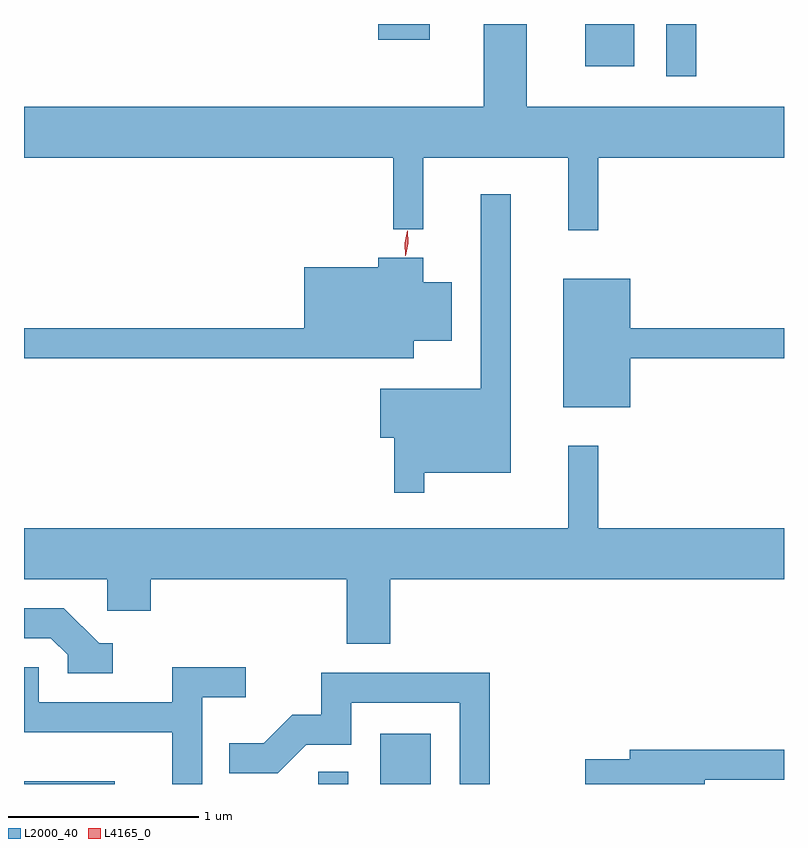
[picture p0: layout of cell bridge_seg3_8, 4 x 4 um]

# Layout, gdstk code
import gdstk
lib = gdstk.Library(unit=1e-6, precision=1e-09)
def R(c, l, rs):  # rectangles x0, y0, x1, y1
    for r in rs: c.add(gdstk.rectangle(r[:2], r[2:], *l))
def P(c, l, *ps):  # polygons
    for p in ps: c.add(gdstk.Polygon(p, *l))
L2000_40 = (2000, 40)
L4165_0 = (4165, 0)

bridge_seg3_8 = lib.new_cell('bridge_seg3_8')
R(bridge_seg3_8, L2000_40, [(1862.882,1118.279,1863.359,1118.294), (1864.431,1118.279,1864.589,1118.343), (1864.756,1118.279,1865.024,1118.544), (1866.261,1122.003,1866.419,1122.279), (1865.836,1122.056,1866.094,1122.279), (1864.746,1122.196,1865.018,1122.279)])
P(bridge_seg3_8, L2000_40, [(1865.904,1121.576),(1866.882,1121.576),(1866.882,1121.844),(1865.529,1121.844),(1865.529,1122.279),(1865.301,1122.279),(1865.301,1121.844),(1862.882,1121.844),(1862.882,1121.576),(1864.826,1121.576),(1864.826,1121.198),(1864.984,1121.198),(1864.984,1121.576),(1865.746,1121.576),(1865.746,1121.193),(1865.904,1121.193)],
  [(1864.989,1119.916),(1865.444,1119.916),(1865.444,1121.383),(1865.286,1121.383),(1865.286,1120.359),(1864.756,1120.359),(1864.756,1120.101),(1864.831,1120.101),(1864.831,1119.813),(1864.989,1119.813)],
  [(1864.934,1120.611),(1865.134,1120.611),(1865.134,1120.919),(1864.984,1120.919),(1864.984,1121.049),(1864.746,1121.049),(1864.746,1120.999),(1864.356,1120.999),(1864.356,1120.679),(1862.882,1120.679),(1862.882,1120.521),(1864.934,1120.521)],
  [(1866.074,1120.521),(1866.882,1120.521),(1866.882,1120.679),(1866.074,1120.679),(1866.074,1120.939),(1865.721,1120.939),(1865.721,1120.261),(1866.074,1120.261)],
  [(1864.809,1119.356),(1866.882,1119.356),(1866.882,1119.624),(1865.904,1119.624),(1865.904,1120.058),(1865.746,1120.058),(1865.746,1119.624),(1862.882,1119.624),(1862.882,1119.356),(1863.321,1119.356),(1863.321,1119.191),(1863.549,1119.191),(1863.549,1119.356),(1864.581,1119.356),(1864.581,1119.016),(1864.809,1119.016)],
  [(1863.348,1119.019),(1863.277,1119.019),(1863.092,1119.204),(1862.882,1119.204),(1862.882,1119.046),(1863.024,1119.046),(1863.111,1118.959),(1863.111,1118.861),(1863.348,1118.861)],
  [(1863.819,1118.736),(1864.048,1118.736),(1864.048,1118.894),(1863.661,1118.894),(1863.661,1118.709),(1862.959,1118.709),(1862.959,1118.894),(1862.882,1118.894),(1862.882,1118.551),(1863.661,1118.551),(1863.661,1118.279),(1863.819,1118.279)],
  [(1865.334,1118.864),(1864.446,1118.864),(1864.446,1118.644),(1864.294,1118.644),(1864.144,1118.494),(1863.963,1118.494),(1863.963,1118.336),(1864.217,1118.336),(1864.367,1118.486),(1864.604,1118.486),(1864.604,1118.706),(1865.176,1118.706),(1865.176,1118.279),(1865.334,1118.279)],
  [(1866.464,1118.301),(1866.882,1118.301),(1866.882,1118.459),(1866.071,1118.459),(1866.071,1118.409),(1865.836,1118.409),(1865.836,1118.279),(1866.464,1118.279)])
P(bridge_seg3_8, L4165_0, [(1864.889,1121.06),(1864.885,1121.126),(1864.9,1121.19),(1864.9,1121.191),(1864.901,1121.19),(1864.905,1121.124),(1864.89,1121.06),(1864.89,1121.06)])

lib.write_gds('bridge_seg3_8.gds')
